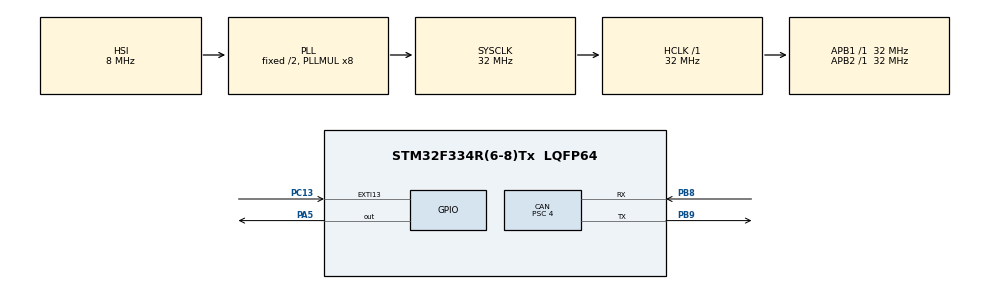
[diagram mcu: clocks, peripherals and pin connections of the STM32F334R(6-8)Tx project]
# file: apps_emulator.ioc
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Mcu.Family=STM32F3
RCC.CortexFreq_Value=32000000
PC13.Signal=GPXTI13
RCC.SYSCLKSourceVirtual=RCC_SYSCLKSOURCE_PLLCLK
ProjectManager.StackSize=0x400
CAN.Prescaler=4
CAN.BS1=CAN_BS1_14TQ
ProjectManager.TargetToolchain=STM32CubeIDE
RCC.HCLKFreq_Value=32000000
PB9.Mode=Master
RCC.APB2TimFreq_Value=32000000
RCC.LSE_VALUE=32768
RCC.AHBFreq_Value=32000000
NVIC.EXTI15_10_IRQn=true\:0\:0\:false\:false\:true\:true\:true
PA5.Signal=GPIO_Output
RCC.HSE_VALUE=8000000
board=custom
RCC.PLLMUL=RCC_PLL_MUL8
RCC.APB2Freq_Value=32000000
Mcu.Name=STM32F334R(6-8)Tx
CAN.CalculateTimeQuantum=125.0
RCC.SYSCLKFreq_VALUE=32000000
PB9.Signal=CAN_TX
Mcu.Package=LQFP64
ProjectManager.HeapSize=0x200
RCC.HSI_VALUE=8000000
NVIC.PriorityGroup=NVIC_PRIORITYGROUP_4
PB8.Mode=Master
RCC.APB1TimFreq_Value=32000000
PB8.Signal=CAN_RX
RCC.APB1Freq_Value=32000000

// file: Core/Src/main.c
/* USER CODE BEGIN Header */
/**
  ******************************************************************************
  * @file           : main.c
  * @brief          : Main program body
  ******************************************************************************
  * @attention
  *
  * <h2><center>&copy; Copyright (c) 2020 STMicroelectronics.
  * All rights reserved.</center></h2>
  *
  * This software component is licensed by ST under BSD 3-Clause license,
  * the "License"; You may not use this file except in compliance with the
  * License. You may obtain a copy of the License at:
  *                        opensource.org/licenses/BSD-3-Clause
  *
  ******************************************************************************
  */
/* USER CODE END Header */
#include "main.h"

CAN_HandleTypeDef hcan;

/* USER CODE BEGIN PV */
CAN_FilterTypeDef sFilterConfig;
CAN_RxHeaderTypeDef RxHeader;

CAN_TxHeaderTypeDef TxHeaderSpeed;
CAN_TxHeaderTypeDef TxHeaderStop;
uint8_t TxDataSpeed[3];
uint8_t TxDataStop[8];

uint8_t RxData[8];
uint32_t TxMailbox1;
uint16_t engine_mode;

uint16_t i = 0;

/* USER CODE END PV */

void SystemClock_Config(void);
static void MX_GPIO_Init(void);
static void MX_CAN_Init(void);
/* USER CODE BEGIN PFP */

static void configure_speed_frame(uint16_t apps_val);
static void configure_stop_frame(void);

/* USER CODE END PFP */

int main(void)
{

  /* MCU Configuration--------------------------------------------------------*/

  /* Reset of all peripherals, Initializes the Flash interface and the Systick. */
  HAL_Init();

  /* Configure the system clock */
  SystemClock_Config();

  /* Initialize all configured peripherals */
  MX_GPIO_Init();
  MX_CAN_Init();
  /* USER CODE BEGIN 2 */

  sFilterConfig.FilterBank = 0;
  sFilterConfig.FilterMode = CAN_FILTERMODE_IDMASK;
  sFilterConfig.FilterScale = CAN_FILTERSCALE_32BIT;
  sFilterConfig.FilterIdHigh = 0x0000;
  sFilterConfig.FilterIdLow = 0x0000;
  sFilterConfig.FilterMaskIdHigh = 0x0000;
  sFilterConfig.FilterMaskIdLow = 0x0000;
  sFilterConfig.FilterFIFOAssignment = CAN_RX_FIFO0;
  sFilterConfig.FilterActivation = ENABLE;
  sFilterConfig.SlaveStartFilterBank = 14;

  if (HAL_CAN_ConfigFilter(&hcan, &sFilterConfig) != HAL_OK)
  {
  /* Filter configuration Error */
	  Error_Handler();
  }

  if (HAL_CAN_Start(&hcan) != HAL_OK)
  {
  /* Filter configuration Error */
	  Error_Handler();
  }

  if (HAL_CAN_ActivateNotification(&hcan, CAN_IT_RX_FIFO0_MSG_PENDING | CAN_IT_TX_MAILBOX_EMPTY) != HAL_OK)
  {
  /* Notification Error */
	  Error_Handler();
  }

  /* USER CODE END 2 */

  /* Infinite loop */
  /* USER CODE BEGIN WHILE */
  while (1)
  {
	  configure_speed_frame(i);
	  HAL_CAN_AddTxMessage(&hcan, &TxHeaderSpeed, TxDataSpeed, &TxMailbox1);

	  while(HAL_CAN_IsTxMessagePending(&hcan, TxMailbox1));

	  HAL_Delay(10);
    /* USER CODE END WHILE */

  }
}

void SystemClock_Config(void)
{
  RCC_OscInitTypeDef RCC_OscInitStruct = {0};
  RCC_ClkInitTypeDef RCC_ClkInitStruct = {0};

  /** Initializes the RCC Oscillators according to the specified parameters
  * in the RCC_OscInitTypeDef structure.
  */
  RCC_OscInitStruct.OscillatorType = RCC_OSCILLATORTYPE_HSI;
  RCC_OscInitStruct.HSIState = RCC_HSI_ON;
  RCC_OscInitStruct.HSICalibrationValue = RCC_HSICALIBRATION_DEFAULT;
  RCC_OscInitStruct.PLL.PLLState = RCC_PLL_ON;
  RCC_OscInitStruct.PLL.PLLSource = RCC_PLLSOURCE_HSI;
  RCC_OscInitStruct.PLL.PLLMUL = RCC_PLL_MUL8;
  if (HAL_RCC_OscConfig(&RCC_OscInitStruct) != HAL_OK)
  {
    Error_Handler();
  }
  /** Initializes the CPU, AHB and APB buses clocks
  */
  RCC_ClkInitStruct.ClockType = RCC_CLOCKTYPE_HCLK|RCC_CLOCKTYPE_SYSCLK
                              |RCC_CLOCKTYPE_PCLK1|RCC_CLOCKTYPE_PCLK2;
  RCC_ClkInitStruct.SYSCLKSource = RCC_SYSCLKSOURCE_PLLCLK;
  RCC_ClkInitStruct.AHBCLKDivider = RCC_SYSCLK_DIV1;
  RCC_ClkInitStruct.APB1CLKDivider = RCC_HCLK_DIV1;
  RCC_ClkInitStruct.APB2CLKDivider = RCC_HCLK_DIV1;

  if (HAL_RCC_ClockConfig(&RCC_ClkInitStruct, FLASH_LATENCY_1) != HAL_OK)
  {
    Error_Handler();
  }
}

static void MX_CAN_Init(void)
{

  hcan.Instance = CAN;
  hcan.Init.Prescaler = 4;
  hcan.Init.Mode = CAN_MODE_NORMAL;
  hcan.Init.SyncJumpWidth = CAN_SJW_1TQ;
  hcan.Init.TimeSeg1 = CAN_BS1_14TQ;
  hcan.Init.TimeSeg2 = CAN_BS2_1TQ;
  hcan.Init.TimeTriggeredMode = DISABLE;
  hcan.Init.AutoBusOff = DISABLE;
  hcan.Init.AutoWakeUp = DISABLE;
  hcan.Init.AutoRetransmission = DISABLE;
  hcan.Init.ReceiveFifoLocked = DISABLE;
  hcan.Init.TransmitFifoPriority = DISABLE;
  if (HAL_CAN_Init(&hcan) != HAL_OK)
  {
    Error_Handler();
  }

}

static void MX_GPIO_Init(void)
{
  GPIO_InitTypeDef GPIO_InitStruct = {0};

  /* GPIO Ports Clock Enable */
  __HAL_RCC_GPIOC_CLK_ENABLE();
  __HAL_RCC_GPIOA_CLK_ENABLE();
  __HAL_RCC_GPIOB_CLK_ENABLE();

  /*Configure GPIO pin Output Level */
  HAL_GPIO_WritePin(GPIOA, GPIO_PIN_5, GPIO_PIN_RESET);

  /*Configure GPIO pin : PC13 */
  GPIO_InitStruct.Pin = GPIO_PIN_13;
  GPIO_InitStruct.Mode = GPIO_MODE_IT_RISING;
  GPIO_InitStruct.Pull = GPIO_NOPULL;
  HAL_GPIO_Init(GPIOC, &GPIO_InitStruct);

  /*Configure GPIO pin : PA5 */
  GPIO_InitStruct.Pin = GPIO_PIN_5;
  GPIO_InitStruct.Mode = GPIO_MODE_OUTPUT_PP;
  GPIO_InitStruct.Pull = GPIO_NOPULL;
  GPIO_InitStruct.Speed = GPIO_SPEED_FREQ_LOW;
  HAL_GPIO_Init(GPIOA, &GPIO_InitStruct);

  /* EXTI interrupt init*/
  HAL_NVIC_SetPriority(EXTI15_10_IRQn, 0, 0);
  HAL_NVIC_EnableIRQ(EXTI15_10_IRQn);

}

/* USER CODE BEGIN 4 */
static void configure_speed_frame(uint16_t apps_val){
	TxHeaderSpeed.StdId = 0x0A;
	TxHeaderSpeed.RTR = CAN_RTR_DATA;
	TxHeaderSpeed.IDE = CAN_ID_STD;
	TxHeaderSpeed.DLC = 3;
	TxHeaderSpeed.TransmitGlobalTime = DISABLE;

	TxDataSpeed[0] = (uint8_t)(apps_val & 0x00FF);
	TxDataSpeed[1] = (uint8_t)(apps_val >> 8);
	TxDataSpeed[2] = 0x31;
}

static void configure_stop_frame(void){
	TxHeaderSpeed.StdId = 0x0C;
	TxHeaderSpeed.RTR = CAN_RTR_DATA;
	TxHeaderSpeed.IDE = CAN_ID_STD;
	TxHeaderSpeed.DLC = 8;
	TxHeaderSpeed.TransmitGlobalTime = DISABLE;

	TxDataSpeed[0] = 0xFF;
	TxDataSpeed[1] = 0xFF;
	TxDataSpeed[2] = 0xFF;
	TxDataSpeed[3] = 0x66;
	TxDataSpeed[4] = 0xFF;
	TxDataSpeed[5] = 0xFF;
	TxDataSpeed[6] = 0xFF;
	TxDataSpeed[7] = 0xFF;
}

/* USER CODE END 4 */

void Error_Handler(void)
{
}

/************************ (C) COPYRIGHT STMicroelectronics *****END OF FILE****/
